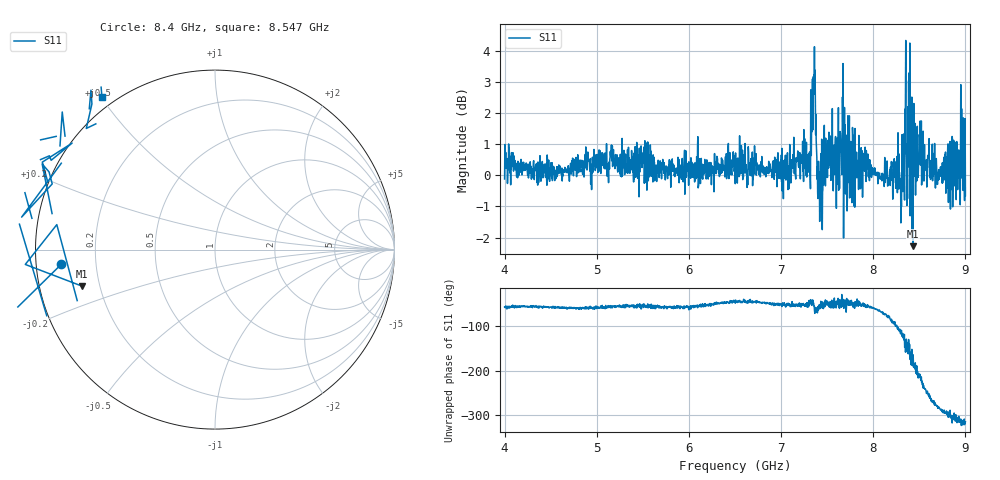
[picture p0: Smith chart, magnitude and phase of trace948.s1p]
! Created with skrf 1.8.0 (http://scikit-rf.org).
# Hz S RI R 50.0
!freq ReS11 ImS11
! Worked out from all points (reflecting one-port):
!   1601 points, 4 GHz to 9 GHz, reference 50 ohm
!   lowest |S11| = -2.3 dB at 8.431 GHz (marker M1), VSWR 7.67, Z = 6.63 - j6.61 ohm
!   phase of S11 starts at -58 deg and turns -256 deg over the sweep
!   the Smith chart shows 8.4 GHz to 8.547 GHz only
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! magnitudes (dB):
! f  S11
! 4 GHz  -0.1
! 4.625 GHz  -0.2
! 5.25 GHz  0.1
! 5.875 GHz  0.1
! 6.5 GHz  0.5
! 7.125 GHz  0.2
! 7.294 GHz  0.4
! 7.356 GHz  3.2
! 7.372 GHz  2.3
! 7.4 GHz  -0.7
! 7.422 GHz  -0.7
! 7.488 GHz  0.6
! 7.584 GHz  0.3
! 7.647 GHz  1.1
! 7.688 GHz  2.2
! 7.703 GHz  -0.2
! 7.75 GHz  -0.6
! 7.891 GHz  0.2
! 8.097 GHz  0.1
! 8.253 GHz  0.4
! 8.3 GHz  -1.5
! 8.375 GHz  2.2
! 8.431 GHz  -2.3
! 8.447 GHz  1.6
! 8.522 GHz  1.8
! 8.697 GHz  -0.3
! 8.972 GHz  0.4
! 9 GHz  -0.7
